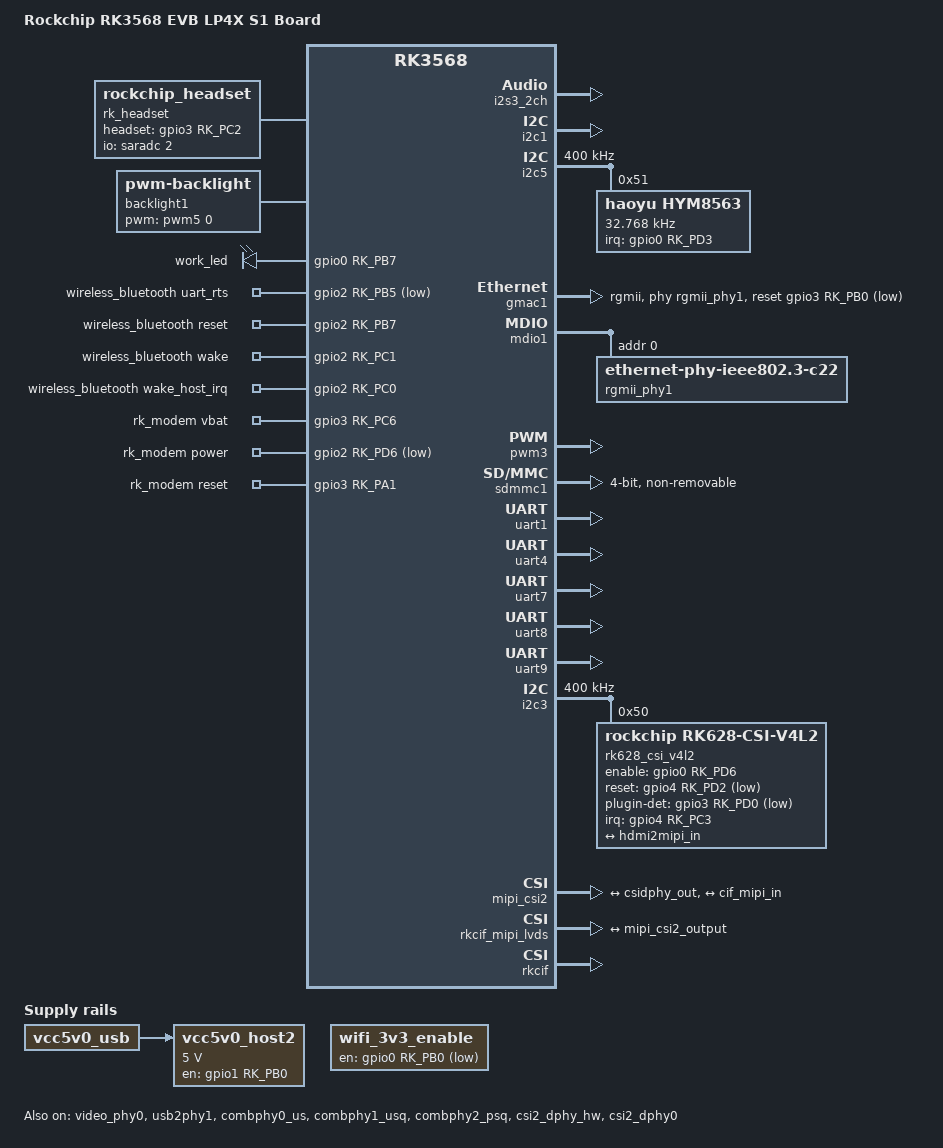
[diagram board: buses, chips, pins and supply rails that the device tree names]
// SPDX-License-Identifier: (GPL-2.0+ OR MIT)
/*
 * Copyright (c) 2020 Rockchip Electronics Co., Ltd.
 *
 */

/dts-v1/;

#include <dt-bindings/gpio/gpio.h>
#include <dt-bindings/pinctrl/rockchip.h>
#include "rk3568.dtsi"
#include "rk3568-evb.dtsi"

/ {
	model = "Rockchip RK3568 EVB LP4X S1 Board";
	compatible = "rockchip,rk3568-evb-lp4x-s1", "rockchip,rk3568";
		
	rk628_dc: rk628-dc {
		compatible = "rockchip,dummy-codec";
		#sound-dai-cells = <0>;
	};
	
	hdmiin-sound {
		compatible = "simple-audio-card";
		simple-audio-card,format = "i2s";
		simple-audio-card,name = "hdmiin";
		simple-audio-card,bitclock-master = <&dailink0_master>;
		simple-audio-card,frame-master = <&dailink0_master>;
		status = "okay";
	
	simple-audio-card,cpu {
		sound-dai = <&i2s3_2ch>;
		};
	
	dailink0_master: simple-audio-card,codec {
		sound-dai = <&rk628_dc>;
		};
	};

	rk_headset: rk-headset {
		compatible = "rockchip_headset";
		headset_gpio = <&gpio3 RK_PC2 GPIO_ACTIVE_HIGH>;
		pinctrl-names = "default";
		pinctrl-0 = <&hp_det>;
		io-channels = <&saradc 2>;
	};
    
	sky_key: skykey {
		compatible = "info,lcd";
		dpi = "160";
		orientation = "Z0";
		status = "disalbed";
	};

	vcc3v3_lcd1_n: vcc3v3-lcd1-n {
		gpio = <&gpio2 RK_PD3 GPIO_ACTIVE_HIGH>;
	};

	backlight: backlight {
		brightness-levels = <
			  0   1   2   3   4   5   6   7
			  8   9  10  11  12  13  14  15
			 16  17  18  19  20  21  22  23
			 24  25  26  27  28  29  30  31
			 32  33  34  35  36  37  38  39
			 40  41  42  43  44  45  46  47
			 48  49  50  51  52  53  54  55
			 56  57  58  59  60  61  62  63
			 64  65  66  67  68  69  70  71
			 72  73  74  75  76  77  78  79
			 80  81  82  83  84  85  86  87
			 88  89  90  91  92  93  94  95
			 96  97  98  99 100 101 102 103
			104 105 106 107 108 109 110 111
			112 113 114 115 116 117 118 119
			120 121 122 123 124 125 126 127
			128 129 130 131 132 133 134 135
			136 137 138 139 140 141 142 143
			144 145 146 147 148 149 150 151
			152 153 154 155 156 157 158 159
			160 161 162 163 164 165 166 167
			168 169 170 171 172 173 174 175
			176 177 178 179 180 181 182 183
			184 185 186 187 188 189 190 191
			192 193 194 195 196 197 198 199
			200 201 202 203 204 205 206 207
			208 209 210 211 212 213 214 215
			216 217 218 219 220 221 222 223
			224 225 226 227 228 229 230 231
			232 233 234 235 236 237 238 239
			240 241 242 243 244 245 246 247
			248 249 250 251 252 253 254 255
		>;
	};

	backlight1: backlight1 {
		compatible = "pwm-backlight";
		pwms = <&pwm5 0 5000000 1>;
		brightness-levels = <
			  0   1   2   3   4   5   6   7
			  8   9  10  11  12  13  14  15
			 16  17  18  19  20  21  22  23
			 24  25  26  27  28  29  30  31
			 32  33  34  35  36  37  38  39
			 40  41  42  43  44  45  46  47
			 48  49  50  51  52  53  54  55
			 56  57  58  59  60  61  62  63
			 64  65  66  67  68  69  70  71
			 72  73  74  75  76  77  78  79
			 80  81  82  83  84  85  86  87
			 88  89  90  91  92  93  94  95
			 96  97  98  99 100 101 102 103
			104 105 106 107 108 109 110 111
			112 113 114 115 116 117 118 119
			120 121 122 123 124 125 126 127
			128 129 130 131 132 133 134 135
			136 137 138 139 140 141 142 143
			144 145 146 147 148 149 150 151
			152 153 154 155 156 157 158 159
			160 161 162 163 164 165 166 167
			168 169 170 171 172 173 174 175
			176 177 178 179 180 181 182 183
			184 185 186 187 188 189 190 191
			192 193 194 195 196 197 198 199
			200 201 202 203 204 205 206 207
			208 209 210 211 212 213 214 215
			216 217 218 219 220 221 222 223
			224 225 226 227 228 229 230 231
			232 233 234 235 236 237 238 239
			240 241 242 243 244 245 246 247
			248 249 250 251 252 253 254 255
		>;
	};

	leds: leds {
		compatible = "gpio-leds";
		status = "okay";
		work_led: work {
			extcon = <&pwm3>;
			gpios = <&gpio0 RK_PB7 GPIO_ACTIVE_HIGH>;
			linux,default-trigger = "ir0";
			default-state = "off";
			retain-state-suspended;
		};
	};

	vcc5v0_host2: vcc5v0-host2-regulator {
		compatible = "regulator-fixed";
		regulator-name = "vcc5v0_host2";
		regulator-boot-on;
		regulator-always-on;
		regulator-min-microvolt = <5000000>;
		regulator-max-microvolt = <5000000>;
		enable-active-high;
		gpio = <&gpio1 RK_PB0 GPIO_ACTIVE_HIGH>;
		vin-supply = <&vcc5v0_usb>;
		pinctrl-names = "default";
		pinctrl-0 = <&vcc5v0_host2_en>;
	};

	wifi_3v3_enable: wifi-enable-regulator {
		compatible = "regulator-fixed";
		gpio = <&gpio0 RK_PB0 GPIO_ACTIVE_LOW>;
		pinctrl-names = "default";
		pinctrl-0 = <&wifi_pwr_pin>;
		regulator-name = "wifi-pwr";
		regulator-always-on;
	};

	spdif-sound {
		status = "disabled";
	};

	spdif_out: spdif-out {
			status = "disabled";
	};

	test-power {
		status = "okay";
	};

	xin32k: xin32k {
		pinctrl-0 = <&clk32k_out1>;
	};

	sdio_pwrseq: sdio-pwrseq {
		clocks = <&pmucru CLK_RTC_32K>;
		clock-names = "ext_clock";
		reset-gpios = <&gpio2 RK_PB1 GPIO_ACTIVE_LOW>;
		pinctrl-0 = <&wifi_enable_h &wifi_32k>;
	};

	wireless_wlan: wireless-wlan {
		sdio_vref = <1800>;
		/delete-property/ clocks;
		/delete-property/ clock-names;
		wifi_chip_type = "ap6256";
		pinctrl-names = "default";
		pinctrl-0 = <&wifi_host_wake_irq>;
		WIFI,host_wake_irq = <&gpio2 RK_PB2 GPIO_ACTIVE_HIGH>;
	};

	wireless_bluetooth: wireless-bluetooth {
		compatible = "bluetooth-platdata";
		clocks = <&pmucru CLK_RTC_32K>;
		clock-names = "ext_clock";
		//wifi-bt-power-toggle;
		uart_rts_gpios = <&gpio2 RK_PB5 GPIO_ACTIVE_LOW>;
		pinctrl-names = "default", "rts_gpio";
		pinctrl-0 = <&uart1m0_rtsn>;
		pinctrl-1 = <&uart1_gpios>;
		BT,reset_gpio    = <&gpio2 RK_PB7 GPIO_ACTIVE_HIGH>;
		BT,wake_gpio     = <&gpio2 RK_PC1 GPIO_ACTIVE_HIGH>;
		BT,wake_host_irq = <&gpio2 RK_PC0 GPIO_ACTIVE_HIGH>;
	};

	rk_modem: rk-modem {
		compatible="4g-modem-platdata";
		pinctrl-names = "default";
		pinctrl-0 = <&lte_vbat &lte_power_en &lte_reset>;
		4G,vbat-gpio = <&gpio3 RK_PC6 GPIO_ACTIVE_HIGH>;
		4G,power-gpio = <&gpio2 RK_PD6 GPIO_ACTIVE_LOW>;
		4G,reset-gpio = <&gpio3 RK_PA1 GPIO_ACTIVE_HIGH>;
		status = "okay";
	};
};

&i2s3_2ch{
	status = "okay";
};

&video_phy0 {
	status = "okay";
};

&video_phy1 {
	status = "disabled";
};

&hdmi_sound {
	status = "disabled";
};

&hdmi {
	status = "disabled";
};

&i2c1 {
	status = "okay";

	gt1x: gt1x@14 {
		status = "disabled";
	};
};

&i2c5 {
	status = "okay";
	clock-frequency = <400000>;
	pinctrl-names = "default";
	pinctrl-0 = <&i2c5m0_xfer>;

	/delete-node/ mxc6655xa@15;

	hym8563: hym8563@51 {
		compatible = "haoyu,hym8563";
		reg = <0x51>;
		interrupt-parent = <&gpio0>;
		interrupts = <RK_PD3 IRQ_TYPE_LEVEL_LOW>;
		pinctrl-names = "default";
		pinctrl-0 = <&rtc_int>;
		#clock-cells = <0>;
		clock-frequency = <32768>;
		clock-output-names = "xin32k";
	};
};

&gmac1 {
	phy-mode = "rgmii";
	//wakeup-source;
	clock_in_out = "input";
	snps,reset-gpio = <&gpio3 RK_PB0 GPIO_ACTIVE_LOW>;
	snps,reset-active-low;
	snps,reset-delays-us = <0 20000 100000>;
	assigned-clocks = <&cru SCLK_GMAC1_RX_TX>, <&cru SCLK_GMAC1>;
	assigned-clock-parents = <&cru SCLK_GMAC1_RGMII_SPEED>;
	assigned-clock-rates = <0>, <125000000>,<25000000>;
	//wolirq-gpio = <&gpio0 RK_PB3 GPIO_ACTIVE_LOW>;
	pinctrl-names = "default";
	pinctrl-0 = <&gmac1m1_miim
		     &gmac1m1_tx_bus2
		     &gmac1m1_rx_bus2
		     &gmac1m1_rgmii_clk
		     &gmac1m1_rgmii_bus>;

	tx_delay = <0x2f>;
	rx_delay = <0x22>;

	phy-handle = <&rgmii_phy1>;
	status = "okay";
};

&mdio1 {
	rgmii_phy1: phy@0 {
		compatible = "ethernet-phy-ieee802.3-c22";
		reg = <0x0>;
	};
};

&adc_keys {
  status = "disabled";
};

 /*
  * There are 10 independent IO domains in RK3566/RK3568, including PMUIO[0:2] and VCCIO[1:7].
  * 1/ PMUIO0 and PMUIO1 are fixed-level power domains which cannot be configured;
  * 2/ PMUIO2 and VCCIO1,VCCIO[3:7] domains require that their hardware power supply voltages
  *    must be consistent with the software configuration correspondingly
  *	a/ When the hardware IO level is connected to 1.8V, the software voltage configuration
  *	   should also be configured to 1.8V accordingly;
  *	b/ When the hardware IO level is connected to 3.3V, the software voltage configuration
  *	   should also be configured to 3.3V accordingly;
  * 3/ VCCIO2 voltage control selection (0xFDC20140)
  *	BIT[0]: 0x0: from GPIO_0A7 (default)
  *	BIT[0]: 0x1: from GRF
  *    Default is determined by Pin FLASH_VOL_SEL/GPIO0_A7:
  *	L:VCCIO2 must supply 3.3V
  *	H:VCCIO2 must supply 1.8V
  */
&pmu_io_domains {
	status = "okay";
	vccio4-supply = <&vcc_1v8>;
	vccio6-supply = <&vcc_1v8>;
};

&reboot_mode {
	mode-wakeonir = <BOOT_WAKEONIR>;
	mode-delwakeonir = <BOOT_DELWAKEONIR>;
	mode-wakeonironce = <BOOT_WAKEONIRONCE>;
};

&pwm3 {
	status = "okay";

	compatible = "rockchip,remotectl-pwm";
	remote_pwm_id = <3>;
	handle_cpu_id = <1>;
	remote_support_psci = <0>;
	pinctrl-names = "default";
	pinctrl-0 = <&pwm3_pins>;

	ir_key1 {
		rockchip,usercode = <0xdf20>;
		rockchip,key_table =
			<0xb5	KEY_REPLY>,
			<0xf5	KEY_BACK>,
			<0xb8	KEY_UP>,
			<0xb2	KEY_DOWN>,
			<0xb6	KEY_LEFT>,
			<0xb4	KEY_RIGHT>,
			<0xe5	KEY_HOME>,
			<0xfc	KEY_VOLUMEUP>,
			<0xbe	KEY_VOLUMEDOWN>,
			<0xa0	KEY_SEARCH>,
			<0xad	KEY_POWER>,
			<0xac	KEY_MUTE>,
			<0xf9	KEY_MENU>,
			<0xfd	KEY_CHANNELUP>,
			<0xf6	KEY_CHANNELDOWN>,
			<0xa1 KEY_SETTINGS>,
			<0xbf KEY_TV_INPUT>;
	};

	ir_key2 {
		rockchip,usercode = <0xf708>;
		rockchip,key_table =
			<0xe3	KEY_REPLY>,
			<0xea	KEY_BACK>,
			<0xaf	KEY_UP>,
			<0xac	KEY_DOWN>,
			<0xae	KEY_LEFT>,
			<0xad	KEY_RIGHT>,
			<0xe5	KEY_HOME>,
			<0xb7	KEY_VOLUMEUP>,
			<0xb6	KEY_VOLUMEDOWN>,
			<0x8b	KEY_SEARCH>,
			<0xf4	KEY_POWER>,
			<0xeb	KEY_MUTE>,
			<0xe8	KEY_MENU>,
			<0xaa	KEY_CHANNELUP>,
			<0xf0	KEY_CHANNELDOWN>,
			<0xf3	KEY_TV_INPUT>;
	};
};

&pwm7 {
	status = "disabled";

	/delete-node/ ir_key1;
	/delete-node/ ir_key2;
	/delete-node/ ir_key3;
};

&rk809_codec {
    spk-ctl-gpio = <&gpio3 RK_PC3 GPIO_ACTIVE_HIGH>;
    extcon = <&rk_headset>;
};

&sdmmc1 {
	max-frequency = <150000000>;
	supports-sdio;
	bus-width = <4>;
	disable-wp;
	cap-sd-highspeed;
	//cap-sdio-irq;
	keep-power-in-suspend;
	mmc-pwrseq = <&sdio_pwrseq>;
	non-removable;
	pinctrl-names = "default";
	pinctrl-0 = <&sdmmc1_bus4 &sdmmc1_cmd &sdmmc1_clk>;
	sd-uhs-sdr104;
	status = "okay";
};

&usb2phy1 {
	reset-gpios = <&gpio2 RK_PD0 GPIO_ACTIVE_LOW>;
	status = "okay";
};

&combphy0_us {
	status = "okay";
};

&combphy1_usq {
	status = "okay";
};

&combphy2_psq {
	status = "okay";
};

&uart1 {
	pinctrl-names = "default";
	pinctrl-0 = <&uart1m0_xfer &uart1m0_ctsn>;
	status = "okay";
};

&uart4 {
	status = "okay";
	pinctrl-names = "default";
	pinctrl-0 = <&uart4m1_xfer>;
};

&uart7 {
	status = "okay";
	pinctrl-names = "default";
	pinctrl-0 = <&uart7m1_xfer>;
	rs485-enable = <1>;
	rs485-gpio = <&gpio3 RK_PB5 GPIO_ACTIVE_LOW>;
};

&uart8 {
	status = "okay";
	pinctrl-names = "default";
	pinctrl-0 = <&uart8m1_xfer>;
};

&uart9 {
	status = "okay";
	pinctrl-names = "default";
	pinctrl-0 = <&uart9m1_xfer>;
};


&i2c3 {
	clock-frequency = <400000>;
	status = "okay";

    rk628_csi_v4l2: rk628_csi_v4l2@50 {
		/* csi->csi:rk628-csi-v4l2 dsi->csi:rk628-dsi-v4l2 */
		compatible = "rockchip,rk628-csi-v4l2";
		reg = <0x50>;
		i2s-enable-default;
		//clocks = <&ext_cam_clk>;
		//clock-names = "xvclk";
		interrupt-parent = <&gpio4>;
		interrupts = <RK_PC3 IRQ_TYPE_LEVEL_HIGH>;
		pinctrl-names = "default";
		pinctrl-0 = <&rk628_irq &rk628_det>;
		assigned-clocks = <&pmucru CLK_WIFI>;
		assigned-clock-rates = <24000000>;
		clocks = <&pmucru CLK_WIFI>;
		clock-names = "soc_24M";
		//hdcp-enable = <1>;
		//power-gpios = <&gpio0 RK_PD5 GPIO_ACTIVE_HIGH>;
		enable-gpios = <&gpio0 RK_PD6 GPIO_ACTIVE_HIGH>;
		reset-gpios = <&gpio4 RK_PD2 GPIO_ACTIVE_LOW>;
		plugin-det-gpios = <&gpio3 RK_PD0 GPIO_ACTIVE_LOW>;
		rockchip,camera-module-index = <0>;
		rockchip,camera-module-facing = "back";
		rockchip,camera-module-name = "RK628-CSI";
		rockchip,camera-module-lens-name = "NC";
		port {
			rk628_out: endpoint {
				remote-endpoint = <&hdmi2mipi_in>;
				data-lanes = <1 2 3 4>;
			};
		};
	};
};


&mipi_csi2 {
	status = "okay";

	ports {
		#address-cells = <1>;
		#size-cells = <0>;

		port@0 {
			reg = <0>;
			#address-cells = <1>;
			#size-cells = <0>;

			mipi_csi2_input: endpoint@1 {
				reg = <1>;
				remote-endpoint = <&csidphy_out>;
				data-lanes = <1 2 3 4>;
			};
		};

		port@1 {
			reg = <1>;
			#address-cells = <1>;
			#size-cells = <0>;

			mipi_csi2_output: endpoint@0 {
				reg = <0>;
				remote-endpoint = <&cif_mipi_in>;
				data-lanes = <1 2 3 4>;
			};
		};
	};
};

&rkcif_mipi_lvds {
	status = "okay";

	port {
		cif_mipi_in: endpoint {
			remote-endpoint = <&mipi_csi2_output>;
			data-lanes = <1 2 3 4>;
		};
	};
};



&rkcif_mmu {
	status = "okay";
};

&rkcif_dvp_sditf {
	status = "disabled";
};

&rkcif {
	status = "okay";
};

&csi2_dphy_hw {
	status = "okay";
};

&csi2_dphy0 {
	status = "okay";

	ports {
		#address-cells = <1>;
		#size-cells = <0>;
		port@0 {
			reg = <0>;
			#address-cells = <1>;
			#size-cells = <0>;

			hdmi2mipi_in: endpoint@0 {
				reg = <1>;
				remote-endpoint = <&rk628_out>;
				data-lanes = <1 2 3 4>;
			};
		};

		port@1 {
			reg = <1>;
			#address-cells = <1>;
			#size-cells = <0>;

			csidphy_out: endpoint@0 {
				reg = <0>;
				remote-endpoint = <&mipi_csi2_input>;
			};
		};
	};
};

&rkisp {
	status = "disabled";
};

&rkisp_mmu {
	status = "disabled";
};

&rkisp_vir0 {
	status = "disabled";

	port {
		#address-cells = <1>;
		#size-cells = <0>;

		isp0_in: endpoint@0 {
			reg = <0>;
			remote-endpoint = <&csidphy_out>;
		};
	};
};

&rockchip_suspend {
    rockchip,sleep-mode-config = <
        (0
        | RKPM_SLP_CENTER_OFF
        | RKPM_SLP_HW_PLLS_OFF
        | RKPM_SLP_32K_PVTM
        )
    >;
    rockchip,wakeup-config = <
        (0
        | RKPM_GPIO_WKUP_EN
        | RKPM_USB_WKUP_EN
        | RKPM_PWM0_WKUP_EN
        | RKPM_USB_LINESTATE_WKUP_EN
        )
    >;
};

&pinctrl {
	headphone {
		hp_det: hp-det {
			rockchip,pins = <3 RK_PC2 RK_FUNC_GPIO &pcfg_pull_up>;
		};
	};

	rtc {
		rtc_int: rtc-int {
			rockchip,pins = <0 RK_PD3 RK_FUNC_GPIO &pcfg_pull_up>;
		};
	};

	usb {
		vcc5v0_host2_en: vcc5v0-host2-en {
			rockchip,pins = <1 RK_PB0 RK_FUNC_GPIO &pcfg_pull_none>;
		};
	};

	sdio-pwrseq {
		wifi_enable_h: wifi-enable-h {
			rockchip,pins = <2 RK_PB1 RK_FUNC_GPIO &pcfg_pull_none>;
		};

		wifi_32k: wifi-32k {
			rockchip,pins = <2 RK_PC6 1 &pcfg_pull_none>;
		};
	};

	wireless-wlan {
		wifi_host_wake_irq: wifi-host-wake-irq {
			rockchip,pins = <2 RK_PB2 RK_FUNC_GPIO &pcfg_pull_none>;
		};

		wifi_pwr_pin: wifi-pwr {
			rockchip,pins = <0 RK_PB0 RK_FUNC_GPIO &pcfg_pull_down>;
		};
	};

	wireless-bluetooth {
		uart1_gpios: uart1-gpios {
			rockchip,pins = <2 RK_PB5 RK_FUNC_GPIO &pcfg_pull_none>;
		};
	};

	rk-modem {
		lte_vbat: lte-vbat {
			rockchip,pins = <3 RK_PC6 RK_FUNC_GPIO &pcfg_pull_none>;
		};

		lte_power_en: lte-power-en {
			rockchip,pins = <2 RK_PD6 RK_FUNC_GPIO &pcfg_pull_none>;
		};

		lte_reset: lte-reset {
			rockchip,pins = <3 RK_PA1 RK_FUNC_GPIO &pcfg_pull_none>;
		};
	};

	rk628-csi {
		rk628_irq: rk628-irq {
			rockchip,pins = <4 RK_PC3 RK_FUNC_GPIO &pcfg_pull_up>;
		};
		rk628_det: rk628-det {
			rockchip,pins = <3 RK_PD0 RK_FUNC_GPIO &pcfg_pull_up>;
		};
	};

	refclk {
		/omit-if-no-ref/
		refclk_pins: refclk-pins {
			rockchip,pins =
				/* refclk_ou */
				<0 RK_PA0 1 &pcfg_pull_up_drv_level_5>;
		};
	};
};
